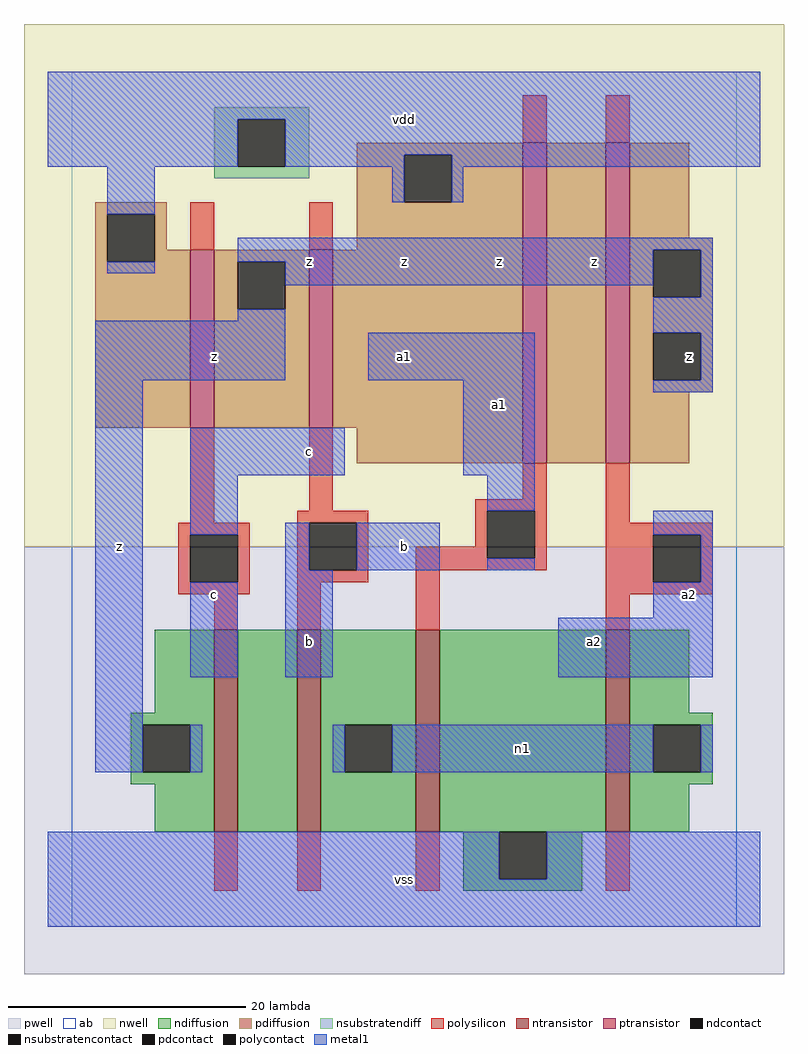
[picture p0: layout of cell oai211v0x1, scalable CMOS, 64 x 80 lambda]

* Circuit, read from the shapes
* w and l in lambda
.subckt oai211v0x1 a1 a2 b c n1 vdd vss z
M1 n2 c z VSUBS nfet w=17 l=2
M2 n1 b n2 VSUBS nfet w=17 l=2
M3 vss a1 n1 VSUBS nfet w=17 l=2
M4 n1 a2 vss VSUBS nfet w=17 l=2
M5 z c vdd vdd pfet w=15 l=2
M6 vdd b z vdd pfet w=15 l=2
M7 n3 a1 vdd vdd pfet w=27 l=2
M8 z a2 n3 vdd pfet w=27 l=2
.ends

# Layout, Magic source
magic
tech scmos
<< ab >>
rect 0 0 56 72
<< pwell >>
rect -4 -4 60 32
<< nwell >>
rect -4 32 60 76
<< polysilicon >>
rect 38 66 40 70
rect 45 66 47 70
rect 10 57 12 61
rect 20 57 22 61
rect 10 34 12 42
rect 20 35 22 42
rect 38 36 40 39
rect 34 35 40 36
rect 19 34 25 35
rect 9 33 15 34
rect 9 29 10 33
rect 14 29 15 33
rect 9 28 15 29
rect 19 30 20 34
rect 24 30 25 34
rect 34 32 35 35
rect 19 29 25 30
rect 29 31 35 32
rect 39 31 40 35
rect 29 30 40 31
rect 45 34 47 39
rect 45 33 54 34
rect 12 25 14 28
rect 19 25 21 29
rect 29 25 31 30
rect 45 29 49 33
rect 53 29 54 33
rect 45 28 54 29
rect 45 25 47 28
rect 12 3 14 8
rect 19 3 21 8
rect 29 3 31 8
rect 45 3 47 8
<< ndiffusion >>
rect 7 18 12 25
rect 5 17 12 18
rect 5 13 6 17
rect 10 13 12 17
rect 5 12 12 13
rect 7 8 12 12
rect 14 8 19 25
rect 21 17 29 25
rect 21 13 23 17
rect 27 13 29 17
rect 21 8 29 13
rect 31 8 45 25
rect 47 18 52 25
rect 47 17 54 18
rect 47 13 49 17
rect 53 13 54 17
rect 47 12 54 13
rect 47 8 52 12
rect 33 4 36 8
rect 40 4 43 8
rect 33 3 43 4
<< pdiffusion >>
rect 24 65 38 66
rect 24 61 28 65
rect 32 61 38 65
rect 2 60 8 61
rect 2 56 3 60
rect 7 57 8 60
rect 24 57 38 61
rect 7 56 10 57
rect 2 42 10 56
rect 12 56 20 57
rect 12 52 14 56
rect 18 52 20 56
rect 12 42 20 52
rect 22 42 38 57
rect 24 39 38 42
rect 40 39 45 66
rect 47 58 52 66
rect 47 57 54 58
rect 47 53 49 57
rect 53 53 54 57
rect 47 50 54 53
rect 47 46 49 50
rect 53 46 54 50
rect 47 45 54 46
rect 47 39 52 45
<< metal1 >>
rect -2 68 58 72
rect -2 64 14 68
rect 18 65 58 68
rect 18 64 28 65
rect 3 60 7 64
rect 27 61 28 64
rect 32 64 58 65
rect 32 61 33 64
rect 3 55 7 56
rect 14 57 54 58
rect 14 56 49 57
rect 18 54 49 56
rect 14 51 18 52
rect 2 46 18 51
rect 53 53 54 57
rect 49 50 54 53
rect 25 46 39 50
rect 2 13 6 46
rect 10 38 23 42
rect 33 38 39 46
rect 53 46 54 50
rect 49 45 54 46
rect 10 33 14 38
rect 35 35 39 38
rect 10 21 14 29
rect 18 30 20 34
rect 24 30 31 34
rect 35 30 39 31
rect 49 33 54 35
rect 18 21 22 30
rect 53 29 54 33
rect 49 26 54 29
rect 41 21 54 26
rect 10 13 11 17
rect 22 13 23 17
rect 27 13 49 17
rect 53 13 54 17
rect -2 4 36 8
rect 40 4 58 8
rect -2 0 58 4
<< ntransistor >>
rect 12 8 14 25
rect 19 8 21 25
rect 29 8 31 25
rect 45 8 47 25
<< ptransistor >>
rect 10 42 12 57
rect 20 42 22 57
rect 38 39 40 66
rect 45 39 47 66
<< polycontact >>
rect 10 29 14 33
rect 20 30 24 34
rect 35 31 39 35
rect 49 29 53 33
<< ndcontact >>
rect 6 13 10 17
rect 23 13 27 17
rect 49 13 53 17
rect 36 4 40 8
<< pdcontact >>
rect 28 61 32 65
rect 3 56 7 60
rect 14 52 18 56
rect 49 53 53 57
rect 49 46 53 50
<< nsubstratencontact >>
rect 14 64 18 68
<< nsubstratendiff >>
rect 12 68 20 69
rect 12 64 14 68
rect 18 64 20 68
rect 12 63 20 64
<< labels >>
rlabel metal1 4 32 4 32 6 z
rlabel metal1 12 28 12 28 6 c
rlabel metal1 12 48 12 48 6 z
rlabel metal1 28 4 28 4 6 vss
rlabel metal1 20 24 20 24 6 b
rlabel metal1 28 32 28 32 6 b
rlabel metal1 20 40 20 40 6 c
rlabel metal1 28 48 28 48 6 a1
rlabel metal1 28 56 28 56 6 z
rlabel metal1 20 56 20 56 6 z
rlabel metal1 28 68 28 68 6 vdd
rlabel metal1 44 24 44 24 6 a2
rlabel metal1 36 44 36 44 6 a1
rlabel metal1 44 56 44 56 6 z
rlabel metal1 36 56 36 56 6 z
rlabel metal1 38 15 38 15 6 n1
rlabel metal1 52 28 52 28 6 a2
rlabel pdcontact 52 48 52 48 6 z
<< end >>
